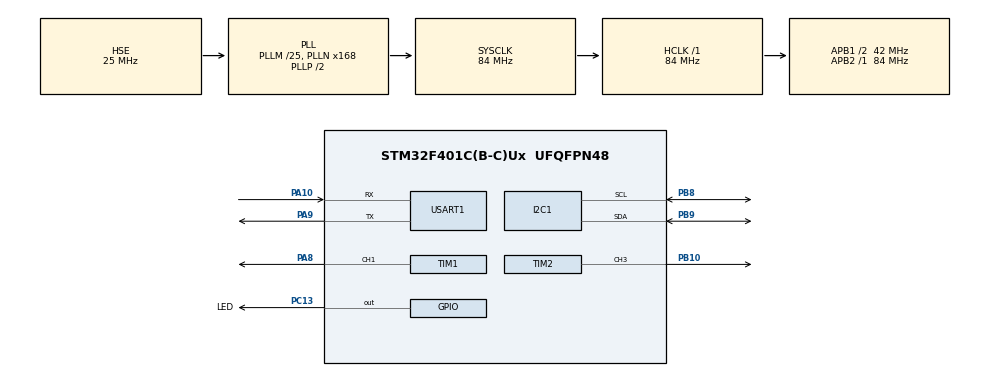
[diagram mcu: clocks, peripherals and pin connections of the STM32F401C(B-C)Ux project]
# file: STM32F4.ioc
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I2C1.I2C_Mode=I2C_Fast
Mcu.Family=STM32F4
Mcu.Name=STM32F401C(B-C)Ux
Mcu.Package=UFQFPN48
NVIC.I2C1_EV_IRQn=true\:0\:0\:false\:false\:true\:true\:true\:true
NVIC.PriorityGroup=NVIC_PRIORITYGROUP_4
NVIC.USART1_IRQn=true\:0\:0\:false\:false\:true\:true\:true\:true
PA10.Mode=Asynchronous
PA10.Signal=USART1_RX
PA8.Signal=S_TIM1_CH1
PA9.Mode=Asynchronous
PA9.Signal=USART1_TX
PB10.Signal=S_TIM2_CH3
PB8.Mode=I2C
PB8.Signal=I2C1_SCL
PB9.Mode=I2C
PB9.Signal=I2C1_SDA
PC13-ANTI_TAMP.GPIO_Label=LED
PC13-ANTI_TAMP.Signal=GPIO_Output
PC14-OSC32_IN.Mode=LSE-External-Oscillator
PC14-OSC32_IN.Signal=RCC_OSC32_IN
PC15-OSC32_OUT.Mode=LSE-External-Oscillator
PC15-OSC32_OUT.Signal=RCC_OSC32_OUT
PH0\ -\ OSC_IN.Mode=HSE-External-Oscillator
PH0\ -\ OSC_IN.Signal=RCC_OSC_IN
PH1\ -\ OSC_OUT.Mode=HSE-External-Oscillator
PH1\ -\ OSC_OUT.Signal=RCC_OSC_OUT
ProjectManager.HeapSize=0x200
ProjectManager.StackSize=0x400
ProjectManager.TargetToolchain=STM32CubeIDE
RCC.48MHZClocksFreq_Value=42000000
RCC.AHBFreq_Value=84000000
RCC.APB1CLKDivider=RCC_HCLK_DIV2
RCC.APB1Freq_Value=42000000
RCC.APB1TimFreq_Value=84000000
RCC.APB2Freq_Value=84000000
RCC.APB2TimFreq_Value=84000000
RCC.CortexFreq_Value=84000000
RCC.HCLKFreq_Value=84000000
RCC.HSE_VALUE=25000000
RCC.HSI_VALUE=16000000
RCC.PLLM=25
RCC.PLLN=168
RCC.PLLSourceVirtual=RCC_PLLSOURCE_HSE
RCC.SYSCLKFreq_VALUE=84000000
RCC.SYSCLKSource=RCC_SYSCLKSOURCE_PLLCLK
RCC.VCOOutputFreq_Value=168000000
SH.S_TIM1_CH1.0=TIM1_CH1,Output Compare1 CH1
SH.S_TIM2_CH3.0=TIM2_CH3,PWM Generation3 CH3
TIM1.Channel-Output\ Compare1\ CH1=TIM_CHANNEL_1
TIM2.Channel-PWM\ Generation3\ CH3=TIM_CHANNEL_3
USART1.VirtualMode=VM_ASYNC
VP_TIM1_VS_ClockSourceITR.Mode=TriggerSource_ITR0
VP_TIM1_VS_ControllerModeTrigger.Mode=Trigger Mode
VP_TIM2_VS_ClockSourceITR.Mode=TriggerSource_ITR0
VP_TIM2_VS_ControllerModeTrigger.Mode=Trigger Mode
board=custom

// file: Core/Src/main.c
/* USER CODE BEGIN Header */
/**
 ******************************************************************************
 * @file           : main.c
 * @brief          : Main program body
 ******************************************************************************
 * @attention
 *
 * Copyright (c) 2023 STMicroelectronics.
 * All rights reserved.
 *
 * This software is licensed under terms that can be found in the LICENSE file
 * in the root directory of this software component.
 * If no LICENSE file comes with this software, it is provided AS-IS.
 *
 ******************************************************************************
 */
/* USER CODE END Header */
#include "main.h"
#include "i2c.h"
#include "tim.h"
#include "usart.h"
#include "gpio.h"

/* USER CODE BEGIN Includes */
#include "mpu6050.h"
//#include <stdio.h>
/* USER CODE END Includes */

/* USER CODE BEGIN PD */
#define STOP 0
#define FORWARD 1
#define BACkWARD 2
#define TURN_RIGHT 3
#define TURN_LEFT 4
#define DIRECT_COMMAND 5
#define SPEED 75

#define COEFF_CORRE 71
#define CALIB_NUNBER 100
#define ACCELERATION 1
/* USER CODE END PD */

/* USER CODE BEGIN PV */
char rx_buffer[20];
char USART_recive = 0;
uint8_t UART1_rxBuffer[2] = { 0 };
uint8_t interrupt10ms = 0;
/* USER CODE END PV */

void SystemClock_Config(void);
/* USER CODE BEGIN PFP */
MPU6050_t MPU6050;
/* USER CODE END PFP */

/* USER CODE BEGIN 0 */
void HAL_UART_RxCpltCallback(UART_HandleTypeDef *huart) //go inside each time a character is send on serial
{
	static uint8_t length = 0;
	HAL_UART_Receive_IT(&huart1, UART1_rxBuffer, 1);
	if (!(((UART1_rxBuffer[0] == '\n') || (UART1_rxBuffer[0] == '\r'))
			&& (length == 0))) //if recive real data ( not just "\r\n")
	{
		rx_buffer[length] = UART1_rxBuffer[0]; //copy the recived caractere on buffer
		length++;
		if ((UART1_rxBuffer[0] == '\n') || (UART1_rxBuffer[0] == '\r')
				|| (length == 20)) //if end of sending data, quit
				{
			if (length > 1)
				USART_recive = 1; //message is complete recived
			length = 0;
		}
	}
}
void motor(int16_t MotL, int16_t MotR) //PWM mcontrole (1 ms -> backward / 1.5 ms -> no moove / 2 ms -> forward)
{
	uint32_t cntL, cntR;
	MotL = MotL + 100; //put an offset (0 to 200)
	MotR = MotR + 100; //put an offset (0 to 200)
	cntL = ((MotL * 2000) / 200) + 2000; //value of PWM start at 2000 and finish at 4000
	cntR = ((MotR * 2000) / 200) + 2000; //value of PWM start at 2000 and finish at 4000
	TIM1->CCR1 = cntL; //put value on TIMERs registers
	TIM2->CCR3 = cntR; //put value on TIMERs registers
}
/* USER CODE END 0 */

int main(void) {

	/* MCU Configuration-------------------------------*/

	/* Reset of all peripherals, Initialises the Flash interface and the Systick. */
	HAL_Init();

	/* USER CODE BEGIN Init */
	uint8_t action = 0;
	char ReciveOrder = ' ';
	double angle, distance, derived;
	int16_t Argument = 0;
	int16_t Argument2 = 0;
	int16_t delay;
	/* USER CODE END Init */

	/* Configure the system clock */
	SystemClock_Config();

	/* Initialize all configured peripherals */
	MX_GPIO_Init();
	MX_I2C1_Init();
	MX_TIM1_Init();
	MX_TIM2_Init();
	MX_USART1_UART_Init();
	/* USER CODE BEGIN 2 */

	HAL_Delay(100);

	while (MPU6050_Init(&hi2c1) == 1)
		; //Init Accelerometer

	//Gpio (IR)
	GPIOB->MODER |= (0x02 << GPIO_MODER_MODER0_Pos); //B0 in output
	GPIOB->MODER |= (0x02 << GPIO_MODER_MODER1_Pos); //B1 in output
	GPIOB->MODER |= (0x02 << GPIO_MODER_MODER3_Pos); //B3 in output
	GPIOB->MODER |= (0x02 << GPIO_MODER_MODER4_Pos); //B4 in output
	GPIOB->MODER |= (0x02 << GPIO_MODER_MODER5_Pos); //B5 in output

	GPIOB->OSPEEDR |= (0x03 << GPIO_OSPEEDR_OSPEED0_Pos); //B0 in  Very high speed
	GPIOB->OSPEEDR |= (0x03 << GPIO_OSPEEDR_OSPEED1_Pos); //B1 in  Very high speed
	GPIOB->OSPEEDR |= (0x03 << GPIO_OSPEEDR_OSPEED3_Pos); //B3 in  Very high speed
	GPIOB->OSPEEDR |= (0x03 << GPIO_OSPEEDR_OSPEED4_Pos); //B4 in  Very high speed
	GPIOB->OSPEEDR |= (0x03 << GPIO_OSPEEDR_OSPEED5_Pos); //B5 in  Very high speed

	GPIOB->ODR &= ~(GPIO_ODR_OD0 | GPIO_ODR_OD1 | GPIO_ODR_OD3 | GPIO_ODR_OD4
			| GPIO_ODR_OD5); //Put the pins B0,1,3,4,5 to 0

	HAL_UART_Receive_IT(&huart1, UART1_rxBuffer, 1);

	//init timer 1 (PWM) Left servo
	HAL_TIM_PWM_Init(&htim1);
	HAL_TIM_PWM_Start(&htim1, TIM_CHANNEL_1);
	TIM1->CCMR1 = 0x60; //Configure in PWM mode
	TIM1->PSC = 41; //(41+1)divide 84MHz/42 = 2MHz
	TIM1->ARR = 40000; //PWM duty cycle -> 2MHz/40 000 = 50Hz
	TIM1->CCR1 = 3000; //put PWM at 1.5ms (1/2 000 000)*3000 = 1.5ms state do nothing
	TIM1->CR1 = 0x01; // Turn on PWM

	//init timer 2 (PWM) Right servo
	HAL_TIM_PWM_Init(&htim2);
	HAL_TIM_PWM_Start(&htim2, TIM_CHANNEL_3);
	TIM2->CCMR2 = 0x60; //Configure in PWM mode
	TIM2->PSC = 41; //(41+1)divide 84MHz/42 = 2MHz
	TIM2->ARR = 40000; //PWM duty cycle -> 2MHz/40 000 = 50Hz
	TIM2->CCR3 = 3000; //put PWM at 1.5ms (1/2 000 000)*3000 = 1.5ms state do nothing
	TIM2->CR1 = 0x01; // Turn on PWM

	//init timer 11 (10ms) sampling accelerometer
	RCC->APB2ENR |= RCC_APB2ENR_TIM11EN; //Enable timer 11 clock
	TIM11->CR1 |= TIM_CR1_OPM; //set timer on counter mode
	TIM11->DIER |= TIM_DIER_UIE; //Enable interrupt of timer 11
	TIM11->PSC = 83; //div by 83+1
	TIM11->ARR = 10000; //1000*10ms -> 10ms

	NVIC_EnableIRQ(TIM1_TRG_COM_TIM11_IRQn); //enable unterrupt

	//init timer 10 (10ms) sampling accelerometer             /////////////////To be completed
	RCC->APB2ENR |= RCC_APB2ENR_TIM10EN; //Enable timer 10 clock
	TIM10->CR1 |= TIM_CR1_OPM; //set timer on counter mode
	TIM10->DIER |= TIM_DIER_UIE; //Enable interrupt of timer 10
	TIM10->PSC = 6; //div by 6+1
	TIM10->ARR = 150; // 12.5us -> 80 KHz
	NVIC_EnableIRQ(TIM1_UP_TIM10_IRQn); //enable unterrupt     ////////////////////
	//TIM10->CR1 |= TIM_CR1_CEN;//Start sampling ADC

	//ADC Configurqtion
	//ADC1_0 pin A0
	GPIOA->MODER |= (0x03 << GPIO_MODER_MODE0_Pos);
	RCC->APB2ENR |= RCC_APB2ENR_ADC1EN;	//Enqble ADC clock source
	ADC1->CR1 |= ADC_CR1_EOCIE;	//Enable End Of Convertion interrupt
	ADC1->CR1 |= ADC_CR1_DISCEN;	//Enable discontinuous mode
	ADC1->CR2 |= ADC_CR2_ADON;	//Enable ADC
	ADC1->SMPR2 = 0x02;
	//ADC1->CR2 |= ADC_CR2_SWSTART;//stqrt convertion
	//while((ADC1->SR & ADC_SR_EOC) == ADC_SR_EOC);//wait the end of convertion

	HAL_Delay(50);	//wait ESP8266 starting
	char data[200];
	int N = 50;
	double sm = 0.0;
	double mean = 0.0;
	double offset = 0.0;
	int8_t turnvalue = 0, calib, accel, decel;
	int i;
	/* USER CODE END 2 */

	/* Infinite loop */
	/* USER CODE BEGIN WHILE */
	while (1) {
		/////////////////////////// start
		if (USART_recive == 1)	//if complete message is recived
		{
			Argument = 0;
			ReciveOrder = rx_buffer[0];	//the command
			if (ReciveOrder == 'C'){
				char temp,temp2;
				sscanf(&rx_buffer, "%c%hd%c%hd", &temp, &Argument, &temp2, &Argument2);
				temp = 'd';
			}
			else
				sscanf(&rx_buffer[1], "%d", &Argument);	//first param
//		  Argument -= 10;
			USART_recive = 0;
			HAL_GPIO_TogglePin(GPIOC, GPIO_PIN_13);	//toggle debug pin
		}

		switch (ReciveOrder) {
			case '0': {
				action = STOP;
				break;
			}
			case 'F': {
				action = FORWARD;
				break;
			}
			case 'B': {
				action = BACkWARD;
				break;
			}
			case 'R': {
				action = TURN_RIGHT;
				break;
			}
			case 'L': {
				action = TURN_LEFT;
				break;
			}
			case 'C': {
				action = DIRECT_COMMAND;
				break;
			}
		}
		switch (action) {
			case STOP: {
				motor(0, 0);	//motor do nothing
				break;
			}
			case FORWARD: {
				angle = 0;
				TIM11->CR1 |= TIM_CR1_CEN;

				calib = 0;
				mean = 0;
				while (calib < CALIB_NUNBER) {
					if (interrupt10ms == 1) {
						interrupt10ms = 0;
						MPU6050_Read_All(&hi2c1, &MPU6050);
						mean += (MPU6050.Gz / 100);
						calib++;
					}
				}
				mean = mean / CALIB_NUNBER;

				accel = 0;
				decel = 0;
				delay = 0;

				accel = Argument;
				while (accel!=0)
				{
					if (interrupt10ms == 1)
					{
						if (decel)//SLOW-DOWN
						{
							accel -= ACCELERATION;
							if (accel < 20)
							{
								accel = 0;
							}
						}

						interrupt10ms = 0;
						MPU6050_Read_All(&hi2c1, &MPU6050);		//Read Accelerometer
						angle += ((MPU6050.Gz / 100) - mean) * COEFF_CORRE;
						if (angle < 0)			//robot turn right must turn left
						{
							motor(accel + (int8_t) angle, -accel);
						}
						if (angle > 0)							//turn left
						{
							motor(accel, -accel + (int8_t) angle);
						}

						if (accel == 100)
							delay++;
					}

					if (USART_recive == 1)
						decel = 1;
				}
				interrupt10ms = 0;
				TIM11->CR1 &= ~TIM_CR1_CEN;				//Disable Counter
				TIM11->CNT = 0;							//reset Counter
				ReciveOrder = '0';
				break;
			}
			case BACkWARD: {
				angle = 0;
				TIM11->CR1 |= TIM_CR1_CEN;

				calib = 0;
				mean = 0;
				while (calib < CALIB_NUNBER) {
					if (interrupt10ms == 1) {
						interrupt10ms = 0;
						MPU6050_Read_All(&hi2c1, &MPU6050);
						mean += (MPU6050.Gz / 100);
						calib++;
					}
				}
				mean = mean / CALIB_NUNBER;

				accel = 0;
				decel = 0;
				delay = 0;

				accel = Argument;
				while (accel!=0)
				{
					if (interrupt10ms == 1)
					{
						if (decel)//SLOW-DOWN
						{
							accel -= ACCELERATION;
							if (accel < 10)
							{
								accel = 0;
							}
						}

						interrupt10ms = 0;
						MPU6050_Read_All(&hi2c1, &MPU6050);		//Read Accelerometer
						angle += ((MPU6050.Gz / 100) - mean) * COEFF_CORRE;
						if (angle < 0)			//robot turn right must turn left
								{
							motor(-accel, accel  + (int8_t) angle);
						}
						if (angle > 0)							//turn left
								{
							motor(-accel  + (int8_t) angle, accel);
						}

						if (accel == 100)
							delay++;
					}

					if (USART_recive == 1)
						decel = 1;
				}
				interrupt10ms = 0;
				TIM11->CR1 &= ~TIM_CR1_CEN;				//Disable Counter
				TIM11->CNT = 0;							//reset Counter
				ReciveOrder = '0';
				break;
			}
			case TURN_RIGHT: {
				TIM11->CR1 |= TIM_CR1_CEN;

				calib = 0;
				mean = 0;
				while (calib < CALIB_NUNBER) {
					if (interrupt10ms == 1) {
						interrupt10ms = 0;
						MPU6050_Read_All(&hi2c1, &MPU6050);
						mean += (MPU6050.Gz / 100);
						calib++;
					}
				}
				mean = mean / CALIB_NUNBER;

				angle = 0;
				accel = 50;
				motor(accel, accel);
				while(angle < Argument)
				{
					if (interrupt10ms == 1)
					{
						if ((Argument - angle) < 35)
						{
							accel = 25;
							motor(accel, accel);
						}
						MPU6050_Read_All(&hi2c1, &MPU6050);		//Read Accelerometer
						angle -= ((MPU6050.Gz / 100) - mean);
						interrupt10ms = 0;
					}
					if (USART_recive == 1){
						motor(0, 0);
						break;
					}
				}
				accel = 0;
				motor(accel, accel);
				interrupt10ms = 0;
				TIM11->CR1 &= ~TIM_CR1_CEN;				//Disable Counter
				TIM11->CNT = 0;							//reset Counter
				ReciveOrder = '0';
				break;
			}
			case TURN_LEFT: {
				TIM11->CR1 |= TIM_CR1_CEN;

				calib = 0;
				mean = 0;
				while (calib < CALIB_NUNBER) {
					if (interrupt10ms == 1) {
						interrupt10ms = 0;
						MPU6050_Read_All(&hi2c1, &MPU6050);
						mean += (MPU6050.Gz / 100);
						calib++;
					}
				}
				mean = mean / CALIB_NUNBER;

				angle = 0;
				accel = -50;
				motor(accel, accel);
				while(angle < Argument)
				{
					if (interrupt10ms == 1)
					{
						if ((Argument - angle) < 35)
						{
							accel = -25;
							motor(accel, accel);
						}
						MPU6050_Read_All(&hi2c1, &MPU6050);		//Read Accelerometer
						angle += ((MPU6050.Gz / 100) - mean);
						interrupt10ms = 0;
					}
					if (USART_recive == 1){
						motor(0, 0);
						break;
					}
				}
				accel = 0;
				motor(accel, accel);
				interrupt10ms = 0;
				TIM11->CR1 &= ~TIM_CR1_CEN;				//Disable Counter
				TIM11->CNT = 0;							//reset Counter
				ReciveOrder = '0';
				break;
			}
			case DIRECT_COMMAND:
			{
				TIM11->CR1 |= TIM_CR1_CEN;
				int8_t a1;
				int8_t a2;
				a1 = (int8_t)Argument;
				a2 = (int8_t)Argument2;
				motor(Argument, Argument2);
				while(USART_recive != 1)
				{
				}
				motor(0, 0);
				interrupt10ms = 0;
				TIM11->CR1 &= ~TIM_CR1_CEN;				//Disable Counter
				TIM11->CNT = 0;							//reset Counter
				ReciveOrder = '0';
				break;
			}
		}

		/* USER CODE END WHILE */

	}
}

void SystemClock_Config(void) {
	RCC_OscInitTypeDef RCC_OscInitStruct = { 0 };
	RCC_ClkInitTypeDef RCC_ClkInitStruct = { 0 };

	/** Configure the main internal regulator output voltage
	 */
	__HAL_RCC_PWR_CLK_ENABLE();
	__HAL_PWR_VOLTAGESCALING_CONFIG(PWR_REGULATOR_VOLTAGE_SCALE2);

	/** Initializes the RCC Oscillators according to the specified parameters
	 * in the RCC_OscInitTypeDef structure.
	 */
	RCC_OscInitStruct.OscillatorType = RCC_OSCILLATORTYPE_HSE;
	RCC_OscInitStruct.HSEState = RCC_HSE_ON;
	RCC_OscInitStruct.PLL.PLLState = RCC_PLL_ON;
	RCC_OscInitStruct.PLL.PLLSource = RCC_PLLSOURCE_HSE;
	RCC_OscInitStruct.PLL.PLLM = 25;
	RCC_OscInitStruct.PLL.PLLN = 168;
	RCC_OscInitStruct.PLL.PLLP = RCC_PLLP_DIV2;
	RCC_OscInitStruct.PLL.PLLQ = 4;
	if (HAL_RCC_OscConfig(&RCC_OscInitStruct) != HAL_OK) {
		Error_Handler();
	}

	/** Initializes the CPU, AHB and APB buses clocks
	 */
	RCC_ClkInitStruct.ClockType = RCC_CLOCKTYPE_HCLK | RCC_CLOCKTYPE_SYSCLK
			| RCC_CLOCKTYPE_PCLK1 | RCC_CLOCKTYPE_PCLK2;
	RCC_ClkInitStruct.SYSCLKSource = RCC_SYSCLKSOURCE_PLLCLK;
	RCC_ClkInitStruct.AHBCLKDivider = RCC_SYSCLK_DIV1;
	RCC_ClkInitStruct.APB1CLKDivider = RCC_HCLK_DIV2;
	RCC_ClkInitStruct.APB2CLKDivider = RCC_HCLK_DIV1;

	if (HAL_RCC_ClockConfig(&RCC_ClkInitStruct, FLASH_LATENCY_2) != HAL_OK) {
		Error_Handler();
	}
}

void Error_Handler(void) {
	/* USER CODE BEGIN Error_Handler_Debug */
	/* User can add his own implementation to report the HAL error return state */
	__disable_irq();							//disable all interrupts
	while (1) {
	}
	/* USER CODE END Error_Handler_Debug */
}
